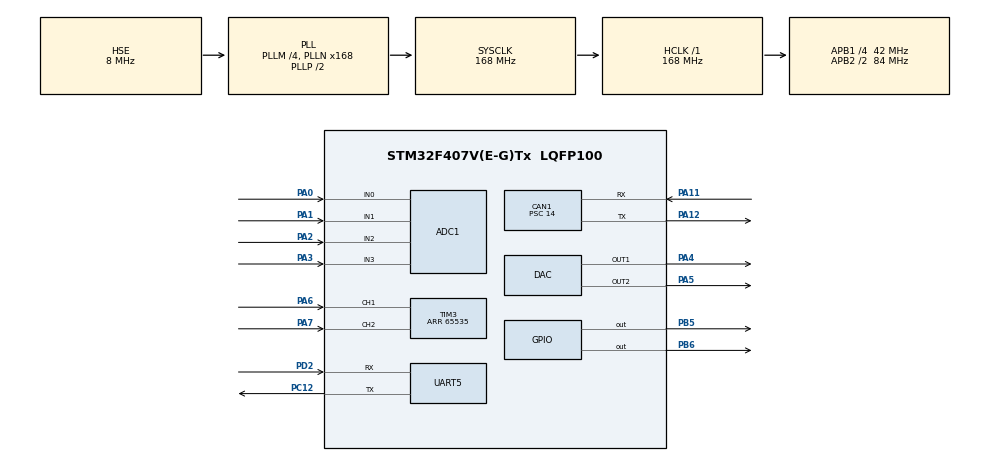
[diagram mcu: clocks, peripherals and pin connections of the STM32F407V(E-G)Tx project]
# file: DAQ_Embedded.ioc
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ADC1.Channel-0\#ChannelRegularConversion=ADC_CHANNEL_0
ADC1.Channel-1\#ChannelInjectedConversion=ADC_CHANNEL_0
ADC1.Channel-2\#ChannelInjectedConversion=ADC_CHANNEL_1
ADC1.InjNumberOfConversion=2
ADC1.InjectedOffset-1\#ChannelInjectedConversion=0
ADC1.InjectedOffset-2\#ChannelInjectedConversion=0
ADC1.InjectedRank-1\#ChannelInjectedConversion=1
ADC1.InjectedRank-2\#ChannelInjectedConversion=2
ADC1.NbrOfConversionFlag=1
ADC1.Rank-0\#ChannelRegularConversion=1
ADC1.SamplingTime-0\#ChannelRegularConversion=ADC_SAMPLETIME_3CYCLES
ADC1.SamplingTime-1\#ChannelInjectedConversion=ADC_SAMPLETIME_3CYCLES
ADC1.SamplingTime-2\#ChannelInjectedConversion=ADC_SAMPLETIME_3CYCLES
ADC1.master=1
CAN1.BS1=CAN_BS1_3TQ
CAN1.BS2=CAN_BS2_2TQ
CAN1.CalculateTimeQuantum=333.33333333333337
CAN1.Prescaler=14
CAN1.SJW=CAN_SJW_2TQ
Mcu.Family=STM32F4
Mcu.Name=STM32F407V(E-G)Tx
Mcu.Package=LQFP100
NVIC.CAN1_RX0_IRQn=true\:0\:0\:false\:false\:true\:true\:true
NVIC.CAN1_RX1_IRQn=true\:0\:0\:false\:false\:true\:true\:true
NVIC.CAN1_TX_IRQn=true\:0\:0\:false\:false\:true\:true\:true
NVIC.PriorityGroup=NVIC_PRIORITYGROUP_4
NVIC.TIM3_IRQn=true\:0\:0\:false\:false\:true\:true\:true
NVIC.TIM8_UP_TIM13_IRQn=true\:0\:0\:false\:false\:true\:true\:true
PA0-WKUP.Signal=ADCx_IN0
PA1.Signal=ADCx_IN1
PA11.Mode=Master
PA11.Signal=CAN1_RX
PA12.Mode=Master
PA12.Signal=CAN1_TX
PA13.Mode=Serial_Wire
PA13.Signal=SYS_JTMS-SWDIO
PA14.Mode=Serial_Wire
PA14.Signal=SYS_JTCK-SWCLK
PA2.Signal=ADCx_IN2
PA3.Signal=ADCx_IN3
PA4.Signal=COMP_DAC1_group
PA5.Signal=COMP_DAC2_group
PA6.Signal=S_TIM3_CH1
PA7.Signal=S_TIM3_CH2
PB5.Signal=GPIO_Output
PB6.Signal=GPIO_Output
PC12.Mode=Asynchronous
PC12.Signal=UART5_TX
PD2.Mode=Asynchronous
PD2.Signal=UART5_RX
PH0-OSC_IN.Mode=HSE-External-Oscillator
PH0-OSC_IN.Signal=RCC_OSC_IN
PH1-OSC_OUT.Mode=HSE-External-Oscillator
PH1-OSC_OUT.Signal=RCC_OSC_OUT
ProjectManager.HeapSize=0x200
ProjectManager.StackSize=0x400
ProjectManager.TargetToolchain=MDK-ARM V5
RCC.48MHZClocksFreq_Value=84000000
RCC.AHBFreq_Value=168000000
RCC.APB1CLKDivider=RCC_HCLK_DIV4
RCC.APB1Freq_Value=42000000
RCC.APB1TimFreq_Value=84000000
RCC.APB2CLKDivider=RCC_HCLK_DIV2
RCC.APB2Freq_Value=84000000
RCC.APB2TimFreq_Value=168000000
RCC.CortexFreq_Value=168000000
RCC.HCLKFreq_Value=168000000
RCC.HSE_VALUE=8000000
RCC.HSI_VALUE=16000000
RCC.LSE_VALUE=32768
RCC.PLLM=4
RCC.PLLN=168
RCC.PLLSourceVirtual=RCC_PLLSOURCE_HSE
RCC.SYSCLKFreq_VALUE=168000000
RCC.SYSCLKSource=RCC_SYSCLKSOURCE_PLLCLK
RCC.VCOOutputFreq_Value=336000000
SH.ADCx_IN0.0=ADC1_IN0,IN0
SH.ADCx_IN1.0=ADC1_IN1,IN1
SH.ADCx_IN2.0=ADC1_IN2,IN2
SH.ADCx_IN3.0=ADC1_IN3,IN3
SH.COMP_DAC1_group.0=DAC_OUT1,DAC_OUT1
SH.COMP_DAC2_group.0=DAC_OUT2,DAC_OUT2
SH.S_TIM3_CH1.0=TIM3_CH1,Encoder_Interface
SH.S_TIM3_CH2.0=TIM3_CH2,Encoder_Interface
TIM13.Period=8399
TIM3.EncoderMode=TIM_ENCODERMODE_TI12
TIM3.Period=65535
UART5.VirtualMode=Asynchronous
VP_TIM13_VS_ClockSourceINT.Mode=Enable_Timer
board=custom

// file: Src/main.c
/* USER CODE BEGIN Header */
/**
  ******************************************************************************
  * @file           : main.c
  * @brief          : Main program body
  ******************************************************************************
  ** This notice applies to any and all portions of this file
  * that are not between comment pairs USER CODE BEGIN and
  * USER CODE END. Other portions of this file, whether
  * inserted by the user or by software development tools
  * are owned by their respective copyright owners.
  *
  * COPYRIGHT(c) 2019 STMicroelectronics
  *
  * Redistribution and use in source and binary forms, with or without modification,
  * are permitted provided that the following conditions are met:
  *   1. Redistributions of source code must retain the above copyright notice,
  *      this list of conditions and the following disclaimer.
  *   2. Redistributions in binary form must reproduce the above copyright notice,
  *      this list of conditions and the following disclaimer in the documentation
  *      and/or other materials provided with the distribution.
  *   3. Neither the name of STMicroelectronics nor the names of its contributors
  *      may be used to endorse or promote products derived from this software
  *      without specific prior written permission.
  *
  * THIS SOFTWARE IS PROVIDED BY THE COPYRIGHT HOLDERS AND CONTRIBUTORS "AS IS"
  * AND ANY EXPRESS OR IMPLIED WARRANTIES, INCLUDING, BUT NOT LIMITED TO, THE
  * IMPLIED WARRANTIES OF MERCHANTABILITY AND FITNESS FOR A PARTICULAR PURPOSE ARE
  * DISCLAIMED. IN NO EVENT SHALL THE COPYRIGHT HOLDER OR CONTRIBUTORS BE LIABLE
  * FOR ANY DIRECT, INDIRECT, INCIDENTAL, SPECIAL, EXEMPLARY, OR CONSEQUENTIAL
  * DAMAGES (INCLUDING, BUT NOT LIMITED TO, PROCUREMENT OF SUBSTITUTE GOODS OR
  * SERVICES; LOSS OF USE, DATA, OR PROFITS; OR BUSINESS INTERRUPTION) HOWEVER
  * CAUSED AND ON ANY THEORY OF LIABILITY, WHETHER IN CONTRACT, STRICT LIABILITY,
  * OR TORT (INCLUDING NEGLIGENCE OR OTHERWISE) ARISING IN ANY WAY OUT OF THE USE
  * OF THIS SOFTWARE, EVEN IF ADVISED OF THE POSSIBILITY OF SUCH DAMAGE.
  *
  ******************************************************************************
  */
/* USER CODE END Header */

#include "main.h"
#include "Servo_Write.h"
/* USER CODE BEGIN Includes */
#include "string.h"
/* USER CODE END Includes */

ADC_HandleTypeDef hadc1;

CAN_HandleTypeDef hcan1;

DAC_HandleTypeDef hdac;

TIM_HandleTypeDef htim3;
TIM_HandleTypeDef htim13;

UART_HandleTypeDef huart5;

void SystemClock_Config(void);
static void MX_GPIO_Init(void);
static void MX_CAN1_Init(void);
static void MX_DAC_Init(void);
static void MX_ADC1_Init(void);
static void MX_UART5_Init(void);
static void MX_TIM13_Init(void);
static void MX_TIM3_Init(void);

/* USER CODE BEGIN 0 */
extern float Value;
int16_t enc_read();
double encoder_val=0;

CAN_RxHeaderTypeDef RMess;
CAN_TxHeaderTypeDef TMess;
uint8_t TxData[8]={0};
uint32_t TxMailBox;
uint8_t canDat;
HAL_StatusTypeDef canret;
uint32_t adc_val=0;
volatile int32_t lastRX;

union{
	struct{
	int16_t angOut;
	}Data;
	uint8_t buffer[2];
}CAN_IN_ANG_PACK;

union{
	struct{
	int32_t enc;
	int16_t force;
	}Data;
	uint8_t buffer[6];
}CAN_OUT_SIG_PACK;

/* USER CODE END 0 */

int main(void)
{
  /* USER CODE BEGIN 1 */
	TMess.RTR = CAN_RTR_DATA;
  TMess.IDE = CAN_ID_STD;
  TMess.DLC = 0x6;
	TMess.StdId = 0x1;
	TMess.TransmitGlobalTime = DISABLE;
  /* USER CODE END 1 */

  /* MCU Configuration--------------------------------------------------------*/

  /* Reset of all peripherals, Initializes the Flash interface and the Systick. */
  HAL_Init();

  /* Configure the system clock */
  SystemClock_Config();

  /* Initialize all configured peripherals */
  MX_GPIO_Init();
  MX_CAN1_Init();
  MX_DAC_Init();
  MX_ADC1_Init();
  MX_UART5_Init();
  MX_TIM13_Init();
  MX_TIM3_Init();
  /* USER CODE BEGIN 2 */
	HAL_TIM_Base_Start_IT(&htim13);
	HAL_TIM_Base_Start_IT(&htim3);
	int cnt=0;
	char str[32];
	HAL_DAC_Start(&hdac,DAC_CHANNEL_1);
  HAL_DAC_Start(&hdac,DAC_CHANNEL_2);
	lastRX=HAL_GetTick();
  /* USER CODE END 2 */

  /* Infinite loop */
  /* USER CODE BEGIN WHILE */
  while (1)
  {
		HAL_GetTick();
		//sprintf(str, "%.2f\n\r" , Value);
		//HAL_UART_Transmit(&huart5, str, sizeof(str), 100);;
		//servoWrite(0);
		//HAL_Delay(1);
		//servoWrite(-4095);
    /* USER CODE END WHILE */
		encoder_val=enc_read();

		if(HAL_GetTick()-lastRX>50){
			servoWrite(0);
  		HAL_GPIO_WritePin(GPIOB,GPIO_PIN_5,GPIO_PIN_RESET);

		}
  }
}

void SystemClock_Config(void)
{
  RCC_OscInitTypeDef RCC_OscInitStruct = {0};
  RCC_ClkInitTypeDef RCC_ClkInitStruct = {0};

  /**Configure the main internal regulator output voltage
  */
  __HAL_RCC_PWR_CLK_ENABLE();
  __HAL_PWR_VOLTAGESCALING_CONFIG(PWR_REGULATOR_VOLTAGE_SCALE1);
  /**Initializes the CPU, AHB and APB busses clocks
  */
  RCC_OscInitStruct.OscillatorType = RCC_OSCILLATORTYPE_HSE;
  RCC_OscInitStruct.HSEState = RCC_HSE_ON;
  RCC_OscInitStruct.PLL.PLLState = RCC_PLL_ON;
  RCC_OscInitStruct.PLL.PLLSource = RCC_PLLSOURCE_HSE;
  RCC_OscInitStruct.PLL.PLLM = 4;
  RCC_OscInitStruct.PLL.PLLN = 168;
  RCC_OscInitStruct.PLL.PLLP = RCC_PLLP_DIV2;
  RCC_OscInitStruct.PLL.PLLQ = 4;
  if (HAL_RCC_OscConfig(&RCC_OscInitStruct) != HAL_OK)
  {
    Error_Handler();
  }
  /**Initializes the CPU, AHB and APB busses clocks
  */
  RCC_ClkInitStruct.ClockType = RCC_CLOCKTYPE_HCLK|RCC_CLOCKTYPE_SYSCLK
                              |RCC_CLOCKTYPE_PCLK1|RCC_CLOCKTYPE_PCLK2;
  RCC_ClkInitStruct.SYSCLKSource = RCC_SYSCLKSOURCE_PLLCLK;
  RCC_ClkInitStruct.AHBCLKDivider = RCC_SYSCLK_DIV1;
  RCC_ClkInitStruct.APB1CLKDivider = RCC_HCLK_DIV4;
  RCC_ClkInitStruct.APB2CLKDivider = RCC_HCLK_DIV2;

  if (HAL_RCC_ClockConfig(&RCC_ClkInitStruct, FLASH_LATENCY_5) != HAL_OK)
  {
    Error_Handler();
  }
}

static void MX_ADC1_Init(void)
{

  ADC_ChannelConfTypeDef sConfig = {0};
  ADC_InjectionConfTypeDef sConfigInjected = {0};

  /**Configure the global features of the ADC (Clock, Resolution, Data Alignment and number of conversion)
  */
  hadc1.Instance = ADC1;
  hadc1.Init.ClockPrescaler = ADC_CLOCK_SYNC_PCLK_DIV4;
  hadc1.Init.Resolution = ADC_RESOLUTION_12B;
  hadc1.Init.ScanConvMode = ENABLE;
  hadc1.Init.ContinuousConvMode = DISABLE;
  hadc1.Init.DiscontinuousConvMode = DISABLE;
  hadc1.Init.ExternalTrigConvEdge = ADC_EXTERNALTRIGCONVEDGE_NONE;
  hadc1.Init.ExternalTrigConv = ADC_SOFTWARE_START;
  hadc1.Init.DataAlign = ADC_DATAALIGN_RIGHT;
  hadc1.Init.NbrOfConversion = 1;
  hadc1.Init.DMAContinuousRequests = DISABLE;
  hadc1.Init.EOCSelection = ADC_EOC_SINGLE_CONV;
  if (HAL_ADC_Init(&hadc1) != HAL_OK)
  {
    Error_Handler();
  }
  /**Configure for the selected ADC regular channel its corresponding rank in the sequencer and its sample time.
  */
  sConfig.Channel = ADC_CHANNEL_0;
  sConfig.Rank = 1;
  sConfig.SamplingTime = ADC_SAMPLETIME_3CYCLES;
  if (HAL_ADC_ConfigChannel(&hadc1, &sConfig) != HAL_OK)
  {
    Error_Handler();
  }
  /**Configures for the selected ADC injected channel its corresponding rank in the sequencer and its sample time
  */
  sConfigInjected.InjectedChannel = ADC_CHANNEL_0;
  sConfigInjected.InjectedRank = 1;
  sConfigInjected.InjectedNbrOfConversion = 2;
  sConfigInjected.InjectedSamplingTime = ADC_SAMPLETIME_3CYCLES;
  sConfigInjected.ExternalTrigInjecConvEdge = ADC_EXTERNALTRIGINJECCONVEDGE_NONE;
  sConfigInjected.ExternalTrigInjecConv = ADC_INJECTED_SOFTWARE_START;
  sConfigInjected.AutoInjectedConv = DISABLE;
  sConfigInjected.InjectedDiscontinuousConvMode = DISABLE;
  sConfigInjected.InjectedOffset = 0;
  if (HAL_ADCEx_InjectedConfigChannel(&hadc1, &sConfigInjected) != HAL_OK)
  {
    Error_Handler();
  }
  /**Configures for the selected ADC injected channel its corresponding rank in the sequencer and its sample time
  */
  sConfigInjected.InjectedChannel = ADC_CHANNEL_1;
  if (HAL_ADCEx_InjectedConfigChannel(&hadc1, &sConfigInjected) != HAL_OK)
  {
    Error_Handler();
  }

}

static void MX_CAN1_Init(void)
{

  hcan1.Instance = CAN1;
  hcan1.Init.Prescaler = 14;
  hcan1.Init.Mode = CAN_MODE_NORMAL;
  hcan1.Init.SyncJumpWidth = CAN_SJW_2TQ;
  hcan1.Init.TimeSeg1 = CAN_BS1_3TQ;
  hcan1.Init.TimeSeg2 = CAN_BS2_2TQ;
  hcan1.Init.TimeTriggeredMode = DISABLE;
  hcan1.Init.AutoBusOff = DISABLE;
  hcan1.Init.AutoWakeUp = DISABLE;
  hcan1.Init.AutoRetransmission = DISABLE;
  hcan1.Init.ReceiveFifoLocked = DISABLE;
  hcan1.Init.TransmitFifoPriority = DISABLE;
  if (HAL_CAN_Init(&hcan1) != HAL_OK)
  {
    Error_Handler();
  }
  /* USER CODE BEGIN CAN1_Init 2 */
	CAN_FilterTypeDef  sFilterConfig;
	sFilterConfig.FilterBank = 0;
  sFilterConfig.FilterMode = CAN_FILTERMODE_IDMASK;
  sFilterConfig.FilterScale = CAN_FILTERSCALE_32BIT;
  sFilterConfig.FilterIdHigh = 0x0000;
  sFilterConfig.FilterIdLow = 0x0000;
  sFilterConfig.FilterMaskIdHigh = 0x0000;
  sFilterConfig.FilterMaskIdLow = 0x0000;
  sFilterConfig.FilterFIFOAssignment = CAN_RX_FIFO0;
  sFilterConfig.FilterActivation = ENABLE;
	if (HAL_CAN_ConfigFilter(&hcan1, &sFilterConfig) != HAL_OK)
  {
    Error_Handler();
  }
	if (HAL_CAN_Start(&hcan1) != HAL_OK)
  {
    Error_Handler();
  }
	if (HAL_CAN_ActivateNotification(&hcan1, CAN_IT_RX_FIFO0_MSG_PENDING) != HAL_OK)
  {
    Error_Handler();
  }
  /* USER CODE END CAN1_Init 2 */

}

static void MX_DAC_Init(void)
{

  DAC_ChannelConfTypeDef sConfig = {0};

  /**DAC Initialization
  */
  hdac.Instance = DAC;
  if (HAL_DAC_Init(&hdac) != HAL_OK)
  {
    Error_Handler();
  }
  /**DAC channel OUT1 config
  */
  sConfig.DAC_Trigger = DAC_TRIGGER_NONE;
  sConfig.DAC_OutputBuffer = DAC_OUTPUTBUFFER_ENABLE;
  if (HAL_DAC_ConfigChannel(&hdac, &sConfig, DAC_CHANNEL_1) != HAL_OK)
  {
    Error_Handler();
  }
  /**DAC channel OUT2 config
  */
  if (HAL_DAC_ConfigChannel(&hdac, &sConfig, DAC_CHANNEL_2) != HAL_OK)
  {
    Error_Handler();
  }

}

static void MX_TIM3_Init(void)
{

  TIM_Encoder_InitTypeDef sConfig = {0};
  TIM_MasterConfigTypeDef sMasterConfig = {0};

  htim3.Instance = TIM3;
  htim3.Init.Prescaler = 0;
  htim3.Init.CounterMode = TIM_COUNTERMODE_UP;
  htim3.Init.Period = 65535;
  htim3.Init.ClockDivision = TIM_CLOCKDIVISION_DIV1;
  sConfig.EncoderMode = TIM_ENCODERMODE_TI12;
  sConfig.IC1Polarity = TIM_ICPOLARITY_RISING;
  sConfig.IC1Selection = TIM_ICSELECTION_DIRECTTI;
  sConfig.IC1Prescaler = TIM_ICPSC_DIV1;
  sConfig.IC1Filter = 0;
  sConfig.IC2Polarity = TIM_ICPOLARITY_RISING;
  sConfig.IC2Selection = TIM_ICSELECTION_DIRECTTI;
  sConfig.IC2Prescaler = TIM_ICPSC_DIV1;
  sConfig.IC2Filter = 0;
  if (HAL_TIM_Encoder_Init(&htim3, &sConfig) != HAL_OK)
  {
    Error_Handler();
  }
  sMasterConfig.MasterOutputTrigger = TIM_TRGO_RESET;
  sMasterConfig.MasterSlaveMode = TIM_MASTERSLAVEMODE_DISABLE;
  if (HAL_TIMEx_MasterConfigSynchronization(&htim3, &sMasterConfig) != HAL_OK)
  {
    Error_Handler();
  }

}

static void MX_TIM13_Init(void)
{

  htim13.Instance = TIM13;
  htim13.Init.Prescaler = 0;
  htim13.Init.CounterMode = TIM_COUNTERMODE_UP;
  htim13.Init.Period = 8399;
  htim13.Init.ClockDivision = TIM_CLOCKDIVISION_DIV1;
  if (HAL_TIM_Base_Init(&htim13) != HAL_OK)
  {
    Error_Handler();
  }

}

static void MX_UART5_Init(void)
{

  huart5.Instance = UART5;
  huart5.Init.BaudRate = 115200;
  huart5.Init.WordLength = UART_WORDLENGTH_8B;
  huart5.Init.StopBits = UART_STOPBITS_1;
  huart5.Init.Parity = UART_PARITY_NONE;
  huart5.Init.Mode = UART_MODE_TX_RX;
  huart5.Init.HwFlowCtl = UART_HWCONTROL_NONE;
  huart5.Init.OverSampling = UART_OVERSAMPLING_16;
  if (HAL_UART_Init(&huart5) != HAL_OK)
  {
    Error_Handler();
  }

}

static void MX_GPIO_Init(void)
{
  GPIO_InitTypeDef GPIO_InitStruct = {0};

  /* GPIO Ports Clock Enable */
  __HAL_RCC_GPIOH_CLK_ENABLE();
  __HAL_RCC_GPIOA_CLK_ENABLE();
  __HAL_RCC_GPIOC_CLK_ENABLE();
  __HAL_RCC_GPIOD_CLK_ENABLE();
  __HAL_RCC_GPIOB_CLK_ENABLE();

  /*Configure GPIO pin Output Level */
  HAL_GPIO_WritePin(GPIOB, GPIO_PIN_5|GPIO_PIN_6, GPIO_PIN_RESET);

  /*Configure GPIO pins : PB5 PB6 */
  GPIO_InitStruct.Pin = GPIO_PIN_5|GPIO_PIN_6;
  GPIO_InitStruct.Mode = GPIO_MODE_OUTPUT_PP;
  GPIO_InitStruct.Pull = GPIO_NOPULL;
  GPIO_InitStruct.Speed = GPIO_SPEED_FREQ_LOW;
  HAL_GPIO_Init(GPIOB, &GPIO_InitStruct);

}

/* USER CODE BEGIN 4 */
void HAL_CAN_RxFifo0MsgPendingCallback(CAN_HandleTypeDef *hcan)
{
	uint8_t canData[8];
  if (HAL_CAN_GetRxMessage(hcan, CAN_RX_FIFO0, &RMess, canData) != HAL_OK)
  {
    Error_Handler();
  }

	if ((RMess.StdId == 0x1) && (RMess.IDE == CAN_ID_STD)){
		CAN_OUT_SIG_PACK.Data.force = (int16_t)Value;
		CAN_OUT_SIG_PACK.Data.enc = enc_read();
		if (HAL_CAN_AddTxMessage(hcan, &TMess, CAN_OUT_SIG_PACK.buffer, &TxMailBox) != HAL_OK){Error_Handler();}
	}

	if ((RMess.StdId == 0x2) && (RMess.IDE == CAN_ID_STD)){
		memcpy(CAN_IN_ANG_PACK.buffer,canData,6);
		servoWrite(CAN_IN_ANG_PACK.Data.angOut);
		HAL_GPIO_WritePin(GPIOB,GPIO_PIN_5,GPIO_PIN_SET);
		lastRX=HAL_GetTick();
	}
}
/* USER CODE END 4 */

void Error_Handler(void)
{
}

/************************ (C) COPYRIGHT STMicroelectronics *****END OF FILE****/
